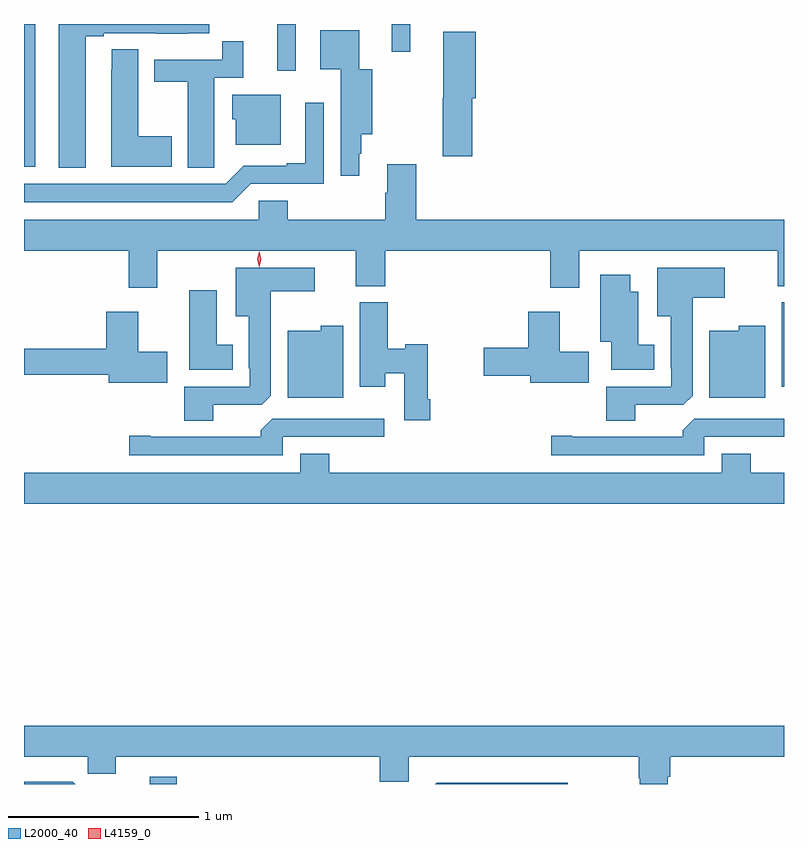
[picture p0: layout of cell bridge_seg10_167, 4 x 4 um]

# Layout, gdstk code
import gdstk
lib = gdstk.Library(unit=1e-6, precision=1e-09)
def R(c, l, rs):  # rectangles x0, y0, x1, y1
    for r in rs: c.add(gdstk.rectangle(r[:2], r[2:], *l))
def P(c, l, *ps):  # polygons
    for p in ps: c.add(gdstk.Polygon(p, *l))
L2000_40 = (2000, 40)
L4159_0 = (4159, 0)

bridge_seg10_167 = lib.new_cell('bridge_seg10_167')
R(bridge_seg10_167, L2000_40, [(229.067,1289.517,229.211,1289.554), (232.394,1291.608,232.406,1292.052), (228.406,1292.766,228.466,1293.517), (229.739,1293.27,229.836,1293.517), (230.342,1293.372,230.44,1293.517)])
P(bridge_seg10_167, L2000_40, [(228.73,1293.453),(228.826,1293.453),(228.826,1293.468),(229.102,1293.468),(229.102,1293.467),(229.268,1293.467),(229.268,1293.468),(229.381,1293.468),(229.381,1293.517),(228.59,1293.517),(228.59,1292.761),(228.73,1292.761)],
  [(230.17,1292.835),(230.182,1292.835),(230.182,1292.936),(230.238,1292.936),(230.238,1293.28),(230.17,1293.28),(230.17,1293.484),(229.964,1293.484),(229.964,1293.278),(230.072,1293.278),(230.072,1293.04),(230.073,1293.04),(230.073,1292.718),(230.17,1292.718)],
  [(230.765,1293.126),(230.783,1293.126),(230.783,1293.475),(230.612,1293.475),(230.612,1293.126),(230.611,1293.126),(230.611,1292.82),(230.765,1292.82)],
  [(229.407,1292.872),(229.408,1292.872),(229.408,1293.234),(229.559,1293.234),(229.559,1293.427),(229.45,1293.427),(229.45,1293.33),(229.091,1293.33),(229.091,1293.214),(229.268,1293.214),(229.268,1292.761),(229.407,1292.761)],
  [(229.183,1292.925),(229.006,1292.925),(229.006,1293.383),(228.867,1293.383),(228.867,1293.275),(228.866,1293.275),(228.866,1292.765),(229.183,1292.765)],
  [(229.756,1293.145),(229.502,1293.145),(229.502,1293.015),(229.52,1293.015),(229.52,1292.882),(229.756,1292.882)],
  [(229.599,1292.676),(229.983,1292.676),(229.983,1293.103),(229.886,1293.103),(229.886,1292.785),(229.79,1292.785),(229.79,1292.772),(229.563,1292.772),(229.467,1292.676),(228.406,1292.676),(228.406,1292.58),(229.503,1292.58)],
  [(229.108,1292.324),(230.153,1292.324),(230.153,1292.137),(230.306,1292.137),(230.306,1292.324),(231.176,1292.324),(231.176,1292.13),(231.328,1292.13),(231.328,1292.324),(232.373,1292.324),(232.373,1292.137),(232.406,1292.137),(232.406,1292.488),(230.471,1292.488),(230.471,1292.779),(230.318,1292.779),(230.318,1292.63),(230.306,1292.63),(230.306,1292.488),(229.793,1292.488),(229.793,1292.586),(229.641,1292.586),(229.641,1292.488),(228.406,1292.488),(228.406,1292.324),(228.956,1292.324),(228.956,1292.13),(229.108,1292.13)],
  [(231.622,1291.512),(231.876,1291.512),(231.925,1291.561),(231.925,1292.075),(232.093,1292.075),(232.093,1292.233),(231.74,1292.233),(231.74,1291.979),(231.809,1291.979),(231.809,1291.705),(231.813,1291.705),(231.813,1291.608),(231.47,1291.608),(231.47,1291.429),(231.622,1291.429)],
  [(229.402,1291.512),(229.656,1291.512),(229.705,1291.561),(229.705,1292.111),(229.936,1292.111),(229.936,1292.233),(229.52,1292.233),(229.52,1291.979),(229.589,1291.979),(229.589,1291.705),(229.593,1291.705),(229.593,1291.608),(229.25,1291.608),(229.25,1291.429),(229.402,1291.429)],
  [(231.724,1291.828),(231.64,1291.828),(231.64,1292.107),(231.598,1292.107),(231.598,1292.197),(231.44,1292.197),(231.44,1291.844),(231.497,1291.844),(231.497,1291.697),(231.724,1291.697)],
  [(229.504,1291.828),(229.42,1291.828),(229.42,1292.116),(229.277,1292.116),(229.277,1291.697),(229.504,1291.697)],
  [(230.543,1291.543),(230.53,1291.543),(230.53,1291.832),(230.412,1291.832),(230.412,1291.809),(230.321,1291.809),(230.321,1292.052),(230.174,1292.052),(230.174,1291.608),(230.308,1291.608),(230.308,1291.679),(230.408,1291.679),(230.408,1291.431),(230.543,1291.431)],
  [(229.159,1291.791),(229.006,1291.791),(229.006,1292.002),(228.839,1292.002),(228.839,1291.808),(228.406,1291.808),(228.406,1291.672),(228.851,1291.672),(228.851,1291.628),(229.159,1291.628)],
  [(231.379,1291.791),(231.226,1291.791),(231.226,1292.002),(231.059,1292.002),(231.059,1291.814),(230.826,1291.814),(230.826,1291.667),(231.071,1291.667),(231.071,1291.628),(231.379,1291.628)],
  [(232.306,1291.93),(232.167,1291.93),(232.167,1291.903),(232.013,1291.903),(232.013,1291.55),(232.306,1291.55)],
  [(230.086,1291.93),(229.968,1291.93),(229.968,1291.903),(229.793,1291.903),(229.793,1291.55),(230.086,1291.55)],
  [(231.987,1291.344),(232.406,1291.344),(232.406,1291.44),(231.933,1291.44),(231.872,1291.378),(231.872,1291.344),(231.292,1291.344),(231.292,1291.349),(231.18,1291.349),(231.18,1291.248),(231.987,1291.248)],
  [(229.767,1291.344),(230.302,1291.344),(230.302,1291.44),(229.713,1291.44),(229.652,1291.378),(229.652,1291.344),(229.072,1291.344),(229.072,1291.349),(228.96,1291.349),(228.96,1291.248),(229.767,1291.248)],
  [(232.406,1291.156),(232.232,1291.156),(232.232,1291.255),(232.079,1291.255),(232.079,1291.156),(230.012,1291.156),(230.012,1291.255),(229.859,1291.255),(229.859,1291.156),(228.406,1291.156),(228.406,1290.992),(232.406,1290.992)],
  [(228.406,1289.66),(228.742,1289.66),(228.742,1289.57),(228.889,1289.57),(228.889,1289.66),(230.279,1289.66),(230.279,1289.529),(230.43,1289.529),(230.43,1289.66),(231.641,1289.66),(231.641,1289.547),(231.646,1289.547),(231.646,1289.517),(231.793,1289.517),(231.793,1289.554),(231.806,1289.554),(231.806,1289.66),(232.406,1289.66),(232.406,1289.824),(228.406,1289.824)],
  [(228.662,1289.53),(228.406,1289.53),(228.406,1289.517),(228.675,1289.517)],
  [(231.268,1289.524),(230.578,1289.524),(230.571,1289.517),(231.268,1289.517)])
P(bridge_seg10_167, L4159_0, [(229.644,1292.236),(229.644,1292.237),(229.634,1292.278),(229.644,1292.319),(229.644,1292.319),(229.644,1292.319),(229.654,1292.278),(229.644,1292.237)])

lib.write_gds('bridge_seg10_167.gds')
